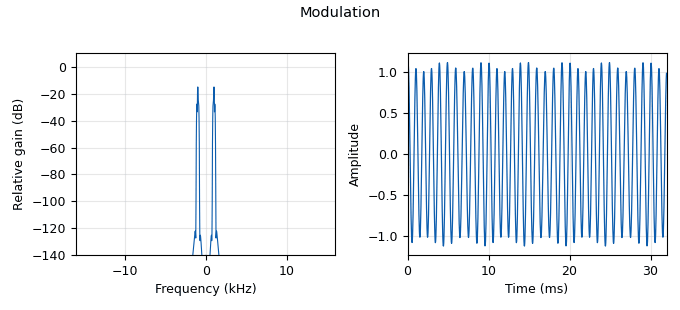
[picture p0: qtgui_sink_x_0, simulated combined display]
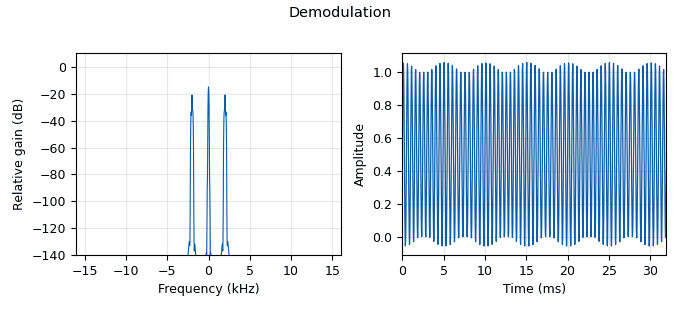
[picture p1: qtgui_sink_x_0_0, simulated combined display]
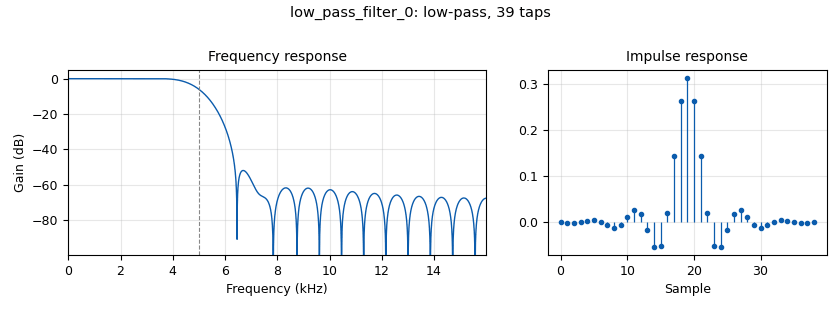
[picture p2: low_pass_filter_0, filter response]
options:
  parameters:
    author: Santosh
    copyright: '2022'
    generate_options: qt_gui
    id: Practice_19CCE382_Expt_4
    output_language: python
    title: Narrow-Band
  states: {}

blocks:
- name: samp_rate
  id: variable
  parameters:
    value: '32000'
  states: {}
- name: analog_const_source_x_0
  id: analog_const_source_x
  parameters:
    const: '0.5'
    type: float
  states: {}
- name: analog_const_source_x_1
  id: analog_const_source_x
  parameters:
    const: '0.5'
    type: float
  states: {}
- name: analog_sig_source_x_0
  id: analog_sig_source_x
  parameters:
    amp: '1'
    freq: '1000'
    offset: '0'
    phase: '0'
    samp_rate: samp_rate
    type: float
    waveform: analog.GR_COS_WAVE
  states: {}
- name: analog_sig_source_x_0_0
  id: analog_sig_source_x
  parameters:
    amp: '1'
    freq: '1100'
    offset: '0'
    phase: '0'
    samp_rate: samp_rate
    type: float
    waveform: analog.GR_COS_WAVE
  states: {}
- name: analog_sig_source_x_0_0_0
  id: analog_sig_source_x
  parameters:
    amp: '1'
    freq: '900'
    offset: '0'
    phase: '0'
    samp_rate: samp_rate
    type: float
    waveform: analog.GR_COS_WAVE
  states: {}
- name: blocks_add_xx_0
  id: blocks_add_xx
  parameters:
    type: float
  states: {}
- name: blocks_multiply_xx_0
  id: blocks_multiply_xx
  parameters:
    num_inputs: '3'
    type: float
  states: {}
- name: blocks_multiply_xx_1
  id: blocks_multiply_xx
  parameters:
    type: float
  states: {}
- name: blocks_sub_xx_0
  id: blocks_sub_xx
  parameters:
    type: float
  states: {}
- name: low_pass_filter_0
  id: low_pass_filter
  parameters:
    cutoff_freq: '5000'
    decim: '1'
    gain: '1'
    samp_rate: samp_rate
    type: fir_filter_fff
    width: '2000'
    win: window.WIN_HAMMING
  states: {}
- name: qtgui_sink_x_0
  id: qtgui_sink_x
  parameters:
    bw: samp_rate
    fc: '0'
    fftsize: '1024'
    name: Modulation
    type: float
  states: {}
- name: qtgui_sink_x_0_0
  id: qtgui_sink_x
  parameters:
    bw: samp_rate
    fc: '0'
    fftsize: '1024'
    name: Demodulation
    type: float
  states: {}

connections:
- [analog_const_source_x_0, '0', blocks_multiply_xx_0, '0']
- [analog_const_source_x_1, '0', blocks_multiply_xx_0, '1']
- [analog_sig_source_x_0, '0', blocks_add_xx_0, '0']
- [analog_sig_source_x_0, '0', blocks_multiply_xx_1, '1']
- [analog_sig_source_x_0_0, '0', blocks_sub_xx_0, '0']
- [analog_sig_source_x_0_0_0, '0', blocks_sub_xx_0, '1']
- [blocks_add_xx_0, '0', blocks_multiply_xx_1, '0']
- [blocks_add_xx_0, '0', qtgui_sink_x_0, '0']
- [blocks_multiply_xx_0, '0', blocks_add_xx_0, '1']
- [blocks_multiply_xx_1, '0', low_pass_filter_0, '0']
- [blocks_sub_xx_0, '0', blocks_multiply_xx_0, '2']
- [low_pass_filter_0, '0', qtgui_sink_x_0_0, '0']

metadata:
  file_format: 1
  grc_version: 3.10.4.0
